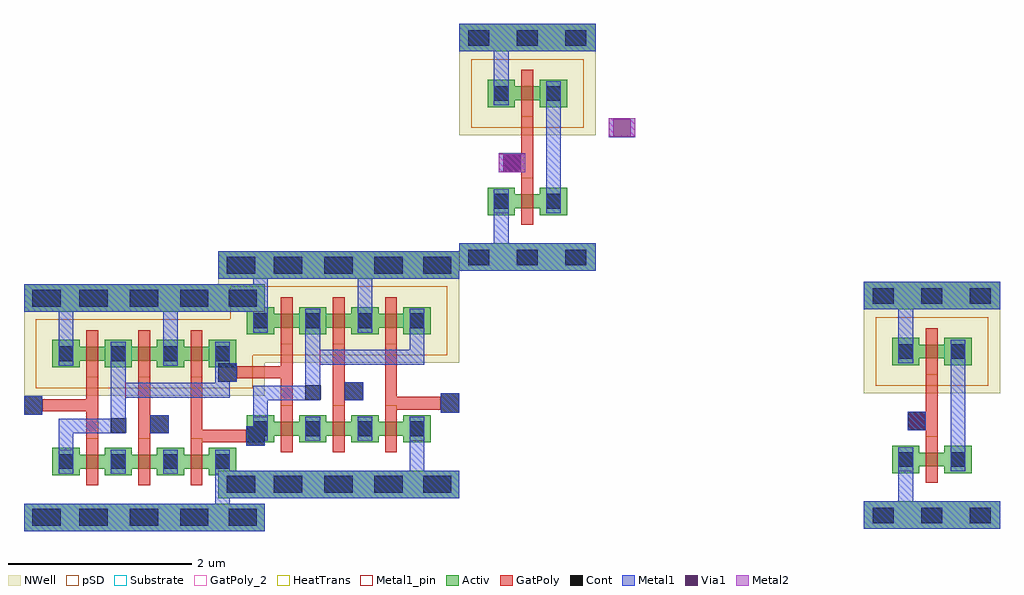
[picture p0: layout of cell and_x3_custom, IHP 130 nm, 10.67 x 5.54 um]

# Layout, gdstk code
from math import pi, radians
import gdstk
lib = gdstk.Library(unit=1e-6, precision=5e-09)
def R(c, l, rs):  # rectangles x0, y0, x1, y1
    for r in rs: c.add(gdstk.rectangle(r[:2], r[2:], *l))
Activ = (1, 0)
GatPoly = (5, 0)
GatPoly_2 = (5, 2)
Cont = (6, 0)
Metal1 = (8, 0)
Metal1_pin = (8, 2)
Metal2 = (10, 0)
pSD = (14, 0)
Via1 = (19, 0)
NWell = (31, 0)
Substrate = (40, 0)
HeatTrans = (51, 0)

pmos = lib.new_cell('pmos')
R(pmos, Activ, [(0,0,0.3,0.3), (0.57,0,0.87,0.3), (0,0.075,0.87,0.225)])
R(pmos, GatPoly, [(0.37,-0.105,0.5,0.405), (0.37,-0.105,0.5,0.405)])
R(pmos, Cont, [(0.07,0.07,0.23,0.23), (0.64,0.07,0.8,0.23)])
R(pmos, Metal1, [(0.07,0.02,0.23,0.28), (0.07,0.02,0.23,0.28), (0.64,0.02,0.8,0.28), (0.64,0.02,0.8,0.28)])
R(pmos, pSD, [(-0.18,-0.225,1.05,0.525)])
R(pmos, NWell, [(-0.31,-0.31,1.18,0.61)])
R(pmos, Substrate, [(0.57,0,0.87,0.3)])
R(pmos, HeatTrans, [(0.37,-0.105,0.5,0.405)])
pmos.add(gdstk.Label('pmos', (0.435,0.15), layer=63, texttype=0))
pmos.add(gdstk.Label('pmos', (0.435,0.15), layer=51, texttype=0))

nmos = lib.new_cell('nmos')
R(nmos, Activ, [(0,0,0.3,0.3), (0.57,0,0.87,0.3), (0,0.075,0.87,0.225)])
R(nmos, GatPoly, [(0.37,-0.105,0.5,0.405)])
R(nmos, GatPoly_2, [(0.37,-0.105,0.5,0.405)])
R(nmos, Cont, [(0.07,0.07,0.23,0.23), (0.64,0.07,0.8,0.23)])
R(nmos, Metal1, [(0.07,0.02,0.23,0.28), (0.64,0.02,0.8,0.28)])
R(nmos, Metal1_pin, [(0.07,0.02,0.23,0.28), (0.64,0.02,0.8,0.28)])
R(nmos, HeatTrans, [(0.37,-0.105,0.5,0.405)])
nmos.add(gdstk.Label('nmos', (0.435,0.15), layer=63, texttype=0))
nmos.add(gdstk.Label('nmos', (0.435,0.15), layer=51, texttype=0))

pmos_2 = lib.new_cell('pmos$2')
R(pmos_2, Activ, [(0,0,0.3,0.3), (0.57,0,0.87,0.3), (0,0.075,0.87,0.225)])
R(pmos_2, GatPoly, [(0.37,-0.105,0.5,0.405), (0.37,-0.105,0.5,0.405)])
R(pmos_2, Cont, [(0.07,0.07,0.23,0.23), (0.64,0.07,0.8,0.23)])
R(pmos_2, Metal1, [(0.07,0.02,0.23,0.28), (0.07,0.02,0.23,0.28), (0.64,0.02,0.8,0.28), (0.64,0.02,0.8,0.28)])
R(pmos_2, pSD, [(-0.18,-0.225,1.05,0.525)])
R(pmos_2, NWell, [(-0.31,-0.31,1.18,0.61)])
R(pmos_2, Substrate, [(0.57,0,0.87,0.3)])
R(pmos_2, HeatTrans, [(0.37,-0.105,0.5,0.405)])
pmos_2.add(gdstk.Label('pmos', (0.435,0.15), layer=63, texttype=0))
pmos_2.add(gdstk.Label('pmos', (0.435,0.15), layer=51, texttype=0))

nmos_2 = lib.new_cell('nmos$2')
R(nmos_2, Activ, [(0,0,0.3,0.3), (0.57,0,0.87,0.3), (0,0.075,0.87,0.225)])
R(nmos_2, GatPoly, [(0.37,-0.105,0.5,0.405)])
R(nmos_2, GatPoly_2, [(0.37,-0.105,0.5,0.405)])
R(nmos_2, Cont, [(0.07,0.07,0.23,0.23), (0.64,0.07,0.8,0.23)])
R(nmos_2, Metal1, [(0.07,0.02,0.23,0.28), (0.64,0.02,0.8,0.28)])
R(nmos_2, Metal1_pin, [(0.07,0.02,0.23,0.28), (0.64,0.02,0.8,0.28)])
R(nmos_2, HeatTrans, [(0.37,-0.105,0.5,0.405)])
nmos_2.add(gdstk.Label('nmos', (0.435,0.15), layer=63, texttype=0))
nmos_2.add(gdstk.Label('nmos', (0.435,0.15), layer=51, texttype=0))

nand_x3_custom = lib.new_cell('nand_x3_custom')
R(nand_x3_custom, Activ, [(0.82,3.075,3.45,3.375), (0.82,3.075,3.45,3.375), (0.82,5.475,3.45,5.775), (0.82,5.475,3.45,5.775)])
R(nand_x3_custom, GatPoly, [(1.5,3.58,1.63,5.27), (1.5,3.58,1.63,5.27), (2.07,3.58,2.2,5.27), (2.07,3.58,2.2,5.27), (2.64,3.58,2.77,5.27), (2.64,3.58,2.77,5.27), (2.64,4.045,3.25,4.175), (2.64,4.055,3.25,4.185), (1.02,4.385,1.5,4.515), (1.02,4.385,1.5,4.515)])
R(nand_x3_custom, Cont, [(0.91,3.135,1.22,3.32), (0.91,3.135,1.22,3.32), (1.425,3.135,1.735,3.32), (1.425,3.135,1.735,3.32), (1.975,3.135,2.285,3.32), (1.975,3.135,2.285,3.32), (2.525,3.135,2.835,3.32), (2.525,3.135,2.835,3.32), (3.055,3.135,3.365,3.32), (3.055,3.135,3.365,3.32), (3.25,4.01,3.45,4.21), (3.25,4.02,3.45,4.22), (2.2,4.145,2.4,4.345), (2.2,4.145,2.4,4.345), (1.77,4.15,1.935,4.31), (1.77,4.15,1.935,4.31), (0.82,4.35,1.02,4.55), (0.82,4.35,1.02,4.55), (0.91,5.53,1.22,5.715), (0.91,5.53,1.22,5.715), (1.425,5.53,1.735,5.715), (1.425,5.53,1.735,5.715), (1.975,5.53,2.285,5.715), (1.975,5.53,2.285,5.715), (2.525,5.53,2.835,5.715), (2.525,5.53,2.835,5.715), (3.055,5.53,3.365,5.715), (3.055,5.53,3.365,5.715)])
R(nand_x3_custom, Metal1, [(0.82,3.075,3.45,3.375), (0.82,3.075,3.45,3.375), (2.91,3.075,3.07,3.965), (2.91,3.075,3.07,3.965), (1.2,3.705,1.36,4.305), (1.2,3.705,1.36,4.305), (3.25,4.01,3.45,4.21), (3.25,4.02,3.45,4.22), (1.2,4.145,1.93,4.305), (1.2,4.145,1.93,4.305), (1.77,4.145,1.93,5.145), (1.77,4.145,1.93,5.145), (2.2,4.145,2.4,4.345), (2.2,4.145,2.4,4.345), (0.82,4.35,1.02,4.55), (0.82,4.35,1.02,4.55), (1.77,4.535,3.07,4.7), (1.77,4.535,3.07,4.7), (2.91,4.535,3.07,5.145), (2.91,4.535,3.07,5.145), (1.2,4.885,1.36,5.775), (1.2,4.885,1.36,5.775), (2.34,4.885,2.5,5.775), (2.34,4.885,2.5,5.775), (0.82,5.475,3.45,5.775), (0.82,5.475,3.45,5.775)])
R(nand_x3_custom, Metal1_pin, [(0.82,3.075,3.45,3.375), (0.82,3.075,3.45,3.375), (3.25,4.01,3.45,4.21), (3.25,4.02,3.45,4.22), (1.77,4.145,1.93,5.145), (1.77,4.145,1.93,5.145), (2.2,4.145,2.4,4.345), (2.2,4.145,2.4,4.345), (0.82,4.35,1.02,4.55), (0.82,4.35,1.02,4.55), (0.82,5.475,3.45,5.775), (0.82,5.475,3.45,5.775)])
R(nand_x3_custom, pSD, [(0.82,3.075,3.45,3.375), (0.82,3.075,3.45,3.375)])
R(nand_x3_custom, NWell, [(0.82,5.475,3.45,5.775), (0.82,5.475,3.45,5.775)])
nand_x3_custom.add(gdstk.Reference(pmos, (2.57,5.165), rotation=pi))
nand_x3_custom.add(gdstk.Reference(pmos, (2.27,4.865)))
nand_x3_custom.add(gdstk.Reference(nmos, (2,3.985), rotation=pi))
nand_x3_custom.add(gdstk.Reference(nmos, (2.57,3.985), rotation=pi))
nand_x3_custom.add(gdstk.Reference(nmos, (3.14,3.985), rotation=pi))
nand_x3_custom.add(gdstk.Reference(pmos, (1.13,4.865)))
nand_x3_custom.add(gdstk.Reference(pmos_2, (2.57,5.165), rotation=pi))
nand_x3_custom.add(gdstk.Reference(pmos_2, (2.27,4.865)))
nand_x3_custom.add(gdstk.Reference(nmos_2, (2,3.985), rotation=pi))
nand_x3_custom.add(gdstk.Reference(nmos_2, (2.57,3.985), rotation=pi))
nand_x3_custom.add(gdstk.Reference(nmos_2, (3.14,3.985), rotation=pi))
nand_x3_custom.add(gdstk.Reference(pmos_2, (1.13,4.865)))
nand_x3_custom.add(gdstk.Label('VSS', (2.135,3.185), layer=8, texttype=25))
nand_x3_custom.add(gdstk.Label('A', (0.88,4.4), layer=8, texttype=25))
nand_x3_custom.add(gdstk.Label('B', (2.28,4.2), layer=8, texttype=25))
nand_x3_custom.add(gdstk.Label('C', (3.355,4.07), layer=8, texttype=25))
nand_x3_custom.add(gdstk.Label('OUT', (1.785,4.205), layer=8, texttype=25))
nand_x3_custom.add(gdstk.Label('VDD', (2.075,5.575), layer=8, texttype=25))
nand_x3_custom.add(gdstk.Label('C', (3.355,4.08), layer=8, texttype=25))
nand_x3_custom.add(gdstk.Label('VSS', (2.135,3.185), layer=8, texttype=25))
nand_x3_custom.add(gdstk.Label('A', (0.88,4.4), layer=8, texttype=25))
nand_x3_custom.add(gdstk.Label('B', (2.28,4.2), layer=8, texttype=25))
nand_x3_custom.add(gdstk.Label('OUT', (1.785,4.205), layer=8, texttype=25))
nand_x3_custom.add(gdstk.Label('VDD', (2.075,5.575), layer=8, texttype=25))

pmos_1 = lib.new_cell('pmos$1')
R(pmos_1, Activ, [(0,0,0.3,0.3), (0.57,0,0.87,0.3), (0,0.075,0.87,0.225)])
R(pmos_1, GatPoly, [(0.37,-0.105,0.5,0.405), (0.37,-0.105,0.5,0.405)])
R(pmos_1, Cont, [(0.07,0.07,0.23,0.23), (0.64,0.07,0.8,0.23)])
R(pmos_1, Metal1, [(0.07,0.02,0.23,0.28), (0.07,0.02,0.23,0.28), (0.64,0.02,0.8,0.28), (0.64,0.02,0.8,0.28)])
R(pmos_1, pSD, [(-0.18,-0.225,1.05,0.525)])
R(pmos_1, NWell, [(-0.31,-0.31,1.18,0.61)])
R(pmos_1, Substrate, [(0.57,0,0.87,0.3)])
R(pmos_1, HeatTrans, [(0.37,-0.105,0.5,0.405)])
pmos_1.add(gdstk.Label('pmos', (0.435,0.15), layer=63, texttype=0))
pmos_1.add(gdstk.Label('pmos', (0.435,0.15), layer=51, texttype=0))

nmos_1 = lib.new_cell('nmos$1')
R(nmos_1, Activ, [(0,0,0.3,0.3), (0.57,0,0.87,0.3), (0,0.075,0.87,0.225)])
R(nmos_1, GatPoly, [(0.37,-0.105,0.5,0.405)])
R(nmos_1, GatPoly_2, [(0.37,-0.105,0.5,0.405)])
R(nmos_1, Cont, [(0.07,0.07,0.23,0.23), (0.64,0.07,0.8,0.23)])
R(nmos_1, Metal1, [(0.07,0.02,0.23,0.28), (0.64,0.02,0.8,0.28)])
R(nmos_1, Metal1_pin, [(0.07,0.02,0.23,0.28), (0.64,0.02,0.8,0.28)])
R(nmos_1, HeatTrans, [(0.37,-0.105,0.5,0.405)])
nmos_1.add(gdstk.Label('nmos', (0.435,0.15), layer=63, texttype=0))
nmos_1.add(gdstk.Label('nmos', (0.435,0.15), layer=51, texttype=0))

pmos_1_1 = lib.new_cell('pmos$1$1')
R(pmos_1_1, Activ, [(0,0,0.3,0.3), (0.57,0,0.87,0.3), (0,0.075,0.87,0.225)])
R(pmos_1_1, GatPoly, [(0.37,-0.105,0.5,0.405), (0.37,-0.105,0.5,0.405)])
R(pmos_1_1, Cont, [(0.07,0.07,0.23,0.23), (0.64,0.07,0.8,0.23)])
R(pmos_1_1, Metal1, [(0.07,0.02,0.23,0.28), (0.07,0.02,0.23,0.28), (0.64,0.02,0.8,0.28), (0.64,0.02,0.8,0.28)])
R(pmos_1_1, pSD, [(-0.18,-0.225,1.05,0.525)])
R(pmos_1_1, NWell, [(-0.31,-0.31,1.18,0.61)])
R(pmos_1_1, Substrate, [(0.57,0,0.87,0.3)])
R(pmos_1_1, HeatTrans, [(0.37,-0.105,0.5,0.405)])
pmos_1_1.add(gdstk.Label('pmos', (0.435,0.15), layer=63, texttype=0))
pmos_1_1.add(gdstk.Label('pmos', (0.435,0.15), layer=51, texttype=0))

nmos_1_1 = lib.new_cell('nmos$1$1')
R(nmos_1_1, Activ, [(0,0,0.3,0.3), (0.57,0,0.87,0.3), (0,0.075,0.87,0.225)])
R(nmos_1_1, GatPoly, [(0.37,-0.105,0.5,0.405)])
R(nmos_1_1, GatPoly_2, [(0.37,-0.105,0.5,0.405)])
R(nmos_1_1, Cont, [(0.07,0.07,0.23,0.23), (0.64,0.07,0.8,0.23)])
R(nmos_1_1, Metal1, [(0.07,0.02,0.23,0.28), (0.64,0.02,0.8,0.28)])
R(nmos_1_1, Metal1_pin, [(0.07,0.02,0.23,0.28), (0.64,0.02,0.8,0.28)])
R(nmos_1_1, HeatTrans, [(0.37,-0.105,0.5,0.405)])
nmos_1_1.add(gdstk.Label('nmos', (0.435,0.15), layer=63, texttype=0))
nmos_1_1.add(gdstk.Label('nmos', (0.435,0.15), layer=51, texttype=0))

inv = lib.new_cell('inv')
R(inv, Activ, [(0.24,0.255,1.73,0.555), (0.24,0.255,1.73,0.555), (0.24,2.655,1.73,2.955), (0.24,2.655,1.73,2.955)])
R(inv, GatPoly, [(0.92,0.76,1.05,2.45), (0.92,0.76,1.05,2.45), (0.72,1.335,0.92,1.535), (0.72,1.335,0.92,1.535)])
R(inv, Cont, [(0.34,0.315,0.57,0.485), (0.34,0.315,0.57,0.485), (0.87,0.315,1.1,0.485), (0.87,0.315,1.1,0.485), (1.4,0.315,1.63,0.485), (1.4,0.315,1.63,0.485), (0.72,1.335,0.92,1.535), (0.72,1.335,0.92,1.535), (0.34,2.715,0.57,2.885), (0.34,2.715,0.57,2.885), (0.87,2.715,1.1,2.885), (0.87,2.715,1.1,2.885), (1.4,2.715,1.63,2.885), (1.4,2.715,1.63,2.885)])
R(inv, Metal1, [(0.24,0.255,1.73,0.555), (0.24,0.255,1.73,0.555), (0.62,0.255,0.78,1.145), (0.62,0.255,0.78,1.145), (1.19,0.885,1.35,2.325), (1.19,0.885,1.35,2.325), (0.72,1.335,0.92,1.535), (0.72,1.335,0.92,1.535), (0.62,2.065,0.78,2.955), (0.62,2.065,0.78,2.955), (0.24,2.655,1.73,2.955), (0.24,2.655,1.73,2.955)])
R(inv, Metal1_pin, [(0.24,0.255,1.73,0.555), (0.24,0.255,1.73,0.555), (1.19,0.885,1.35,2.325), (1.19,0.885,1.35,2.325), (0.72,1.335,0.92,1.535), (0.72,1.335,0.92,1.535), (0.24,2.655,1.73,2.955), (0.24,2.655,1.73,2.955)])
R(inv, pSD, [(0.24,0.255,1.73,0.555), (0.24,0.255,1.73,0.555)])
R(inv, NWell, [(0.24,2.655,1.73,2.955), (0.24,2.655,1.73,2.955)])
inv.add(gdstk.Reference(pmos_1, (0.55,2.045)))
inv.add(gdstk.Reference(nmos_1, (0.55,0.865)))
inv.add(gdstk.Reference(pmos_1_1, (0.55,2.045)))
inv.add(gdstk.Reference(nmos_1_1, (0.55,0.865)))
inv.add(gdstk.Label('VIN', (0.78,1.435), layer=8, texttype=25))
inv.add(gdstk.Label('VSS', (0.95,0.37), layer=8, texttype=25))
inv.add(gdstk.Label('VOUT', (1.2,1.665), layer=8, texttype=25))
inv.add(gdstk.Label('VDD', (0.96,2.805), layer=8, texttype=25))
inv.add(gdstk.Label('VIN', (0.78,1.435), layer=8, texttype=25))
inv.add(gdstk.Label('VSS', (0.95,0.37), layer=8, texttype=25))
inv.add(gdstk.Label('VOUT', (1.2,1.665), layer=8, texttype=25))
inv.add(gdstk.Label('VDD', (0.96,2.805), layer=8, texttype=25))

via_stack_1 = lib.new_cell('via_stack$1')
R(via_stack_1, Metal1, [(-0.145,-0.105,0.145,0.105)])
R(via_stack_1, Metal2, [(-0.145,-0.1,0.145,0.1)])
R(via_stack_1, Via1, [(-0.095,-0.095,0.095,0.095)])

and_x3_custom = lib.new_cell('and_x3_custom')
and_x3_custom.add(gdstk.Reference(nand_x3_custom, (0,-2.485)))
and_x3_custom.add(gdstk.Reference(inv, (3.21,2.82)))
and_x3_custom.add(gdstk.Reference(via_stack_1, (5.23,4.64)))
and_x3_custom.add(gdstk.Reference(via_stack_1, (4.03,4.255)))
and_x3_custom.add(gdstk.Reference(nand_x3_custom, (-2.125,-2.845)))
and_x3_custom.add(gdstk.Reference(inv, (7.63,0)))

lib.write_gds('and_x3_custom.gds')
